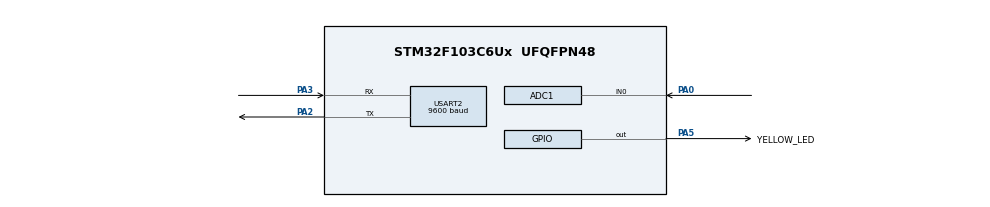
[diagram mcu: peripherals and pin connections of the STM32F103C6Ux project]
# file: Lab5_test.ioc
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ADC1.Channel-1\#ChannelRegularConversion=ADC_CHANNEL_0
ADC1.ContinuousConvMode=ENABLE
ADC1.NbrOfConversionFlag=1
ADC1.Rank-1\#ChannelRegularConversion=1
ADC1.SamplingTime-1\#ChannelRegularConversion=ADC_SAMPLETIME_1CYCLE_5
ADC1.master=1
Mcu.Family=STM32F1
Mcu.Name=STM32F103C6Ux
Mcu.Package=UFQFPN48
NVIC.ADC1_2_IRQn=true\:0\:0\:false\:false\:true\:true\:true\:true
NVIC.PriorityGroup=NVIC_PRIORITYGROUP_4
NVIC.TIM2_IRQn=true\:0\:0\:true\:false\:true\:true\:true\:true
NVIC.USART2_IRQn=true\:0\:0\:false\:false\:true\:true\:true\:true
PA0-WKUP.Signal=ADCx_IN0
PA2.Mode=Asynchronous
PA2.Signal=USART2_TX
PA3.Mode=Asynchronous
PA3.Signal=USART2_RX
PA5.GPIO_Label=YELLOW_LED
PA5.Signal=GPIO_Output
ProjectManager.HeapSize=0x200
ProjectManager.StackSize=0x400
ProjectManager.TargetToolchain=STM32CubeIDE
RCC.APB1Freq_Value=8000000
RCC.APB2Freq_Value=8000000
SH.ADCx_IN0.0=ADC1_IN0,IN0
TIM2.Period=10
TIM2.Prescaler=7999
USART2.BaudRate=9600
USART2.VirtualMode=VM_ASYNC
VP_TIM2_VS_ClockSourceINT.Mode=Internal
board=custom

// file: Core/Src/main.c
/* USER CODE BEGIN Header */
/**
  ******************************************************************************
  * @file           : main.c
  * @brief          : Main program body
  ******************************************************************************
  * @attention
  *
  * Copyright (c) 2022 STMicroelectronics.
  * All rights reserved.
  *
  * This software is licensed under terms that can be found in the LICENSE file
  * in the root directory of this software component.
  * If no LICENSE file comes with this software, it is provided AS-IS.
  *
  ******************************************************************************
  */
/* USER CODE END Header */
#include "main.h"

/* USER CODE BEGIN Includes */
#include <stdio.h>
#include "SoftwareTimer.h"
/* USER CODE END Includes */

ADC_HandleTypeDef hadc1;

TIM_HandleTypeDef htim2;

UART_HandleTypeDef huart2;

void SystemClock_Config(void);
static void MX_GPIO_Init(void);
static void MX_TIM2_Init(void);
static void MX_USART2_UART_Init(void);
static void MX_ADC1_Init(void);

/* USER CODE BEGIN 0 */
uint8_t temp=0;
uint8_t buffer[30];
uint8_t buffer_idx=0;
uint8_t str[50];
int buffer_flag=0;
void HAL_UART_RxCpltCallback(UART_HandleTypeDef*huart){
	buffer_flag=1;
	if(huart->Instance==USART2){
		HAL_UART_Receive_IT(&huart2, &temp, 1);
		buffer[buffer_idx++]=temp;
		if(buffer_idx>=30)
			buffer_idx=0;
//		HAL_UART_Transmit(huart, str, sprintf(str,"%s\r",buffer), 100);
	}
}
uint32_t value=0;
#define INIT -1
#define READ_START 0
#define READ_R 1
#define READ_S 2
#define READ_T 3
#define READ_O 4
#define READ_K 5
#define RST 8
#define OK 9
int state=INIT;
int command_flag=0;
int command_data=0;
int previous_packet=0;
void command_parser_fsm(){
	switch(state){
	case INIT:
		if(temp=='!'){
			state=READ_START;
		}
		break;
	case READ_START:
		if(temp=='R'){
			state=READ_R;
		}else if(temp=='O'){
			state=READ_O;
		}else if(temp=='!'){state=READ_START;}
		else state=INIT;
		break;
	case READ_R:
		if(temp=='S'){
			state=READ_S;
		}else if(temp=='!'){state=READ_START;}
		else state=INIT;
		break;
	case READ_S:
		if(temp=='T'){
			state=READ_T;
		}else if(temp=='!'){state=READ_START;}
		else state=INIT;
		break;
	case READ_O:
		if(temp=='K'){
			state=READ_K;
		}else if(temp=='!'){state=READ_START;}
		else state=INIT;
		break;
	case READ_K:
		if(temp=='#'){
			command_flag=1;
			command_data=OK;
			state=INIT;
		}else if(temp=='!'){
			state=READ_START;
		}else state=INIT;
		break;
	case READ_T:
		if(temp=='#'){
			timer1_flag=1;
			command_flag=1;
			command_data=RST;
			state=INIT;
		}else if(temp=='!'){
			state=READ_START;
		}else state=INIT;
		break;
	}
//	HAL_UART_Transmit(&huart2, str, sprintf(str,"STATE:%d "
//			"TEMP:%c flag:%d data:%d\r",state,temp,command_flag,command_data), 100);
}
int analog_Read=0;
void readAnalog(){
	HAL_ADC_Start(&hadc1);
	HAL_ADC_PollForConversion(&hadc1,1);
	value=HAL_ADC_GetValue(&hadc1);
	HAL_ADC_Stop(&hadc1);
}
void uart_communication_fsm(){
	if(command_flag==1){
		switch(command_data){
		case RST:
			if(timer1_flag==1){
				setTimer1(3000);
				if(analog_Read==0){
					readAnalog();
					analog_Read=1;
					previous_packet=value;
				}
				HAL_UART_Transmit(&huart2, str, sprintf(str,"!ADC=%d#\r\n",previous_packet), 100);
			}
			break;
		case OK:
			command_flag=0;
			analog_Read=0;
			break;
		}
	}
}
/* USER CODE END 0 */

int main(void)
{

  /* MCU Configuration--------------------------------------------------------*/

  /* Reset of all peripherals, Initializes the Flash interface and the Systick. */
  HAL_Init();

  /* Configure the system clock */
  SystemClock_Config();

  /* Initialize all configured peripherals */
  MX_GPIO_Init();
  MX_TIM2_Init();
  MX_USART2_UART_Init();
  MX_ADC1_Init();
  /* USER CODE BEGIN 2 */
  HAL_UART_Receive_IT(&huart2, &temp, 1);
  HAL_TIM_Base_Start_IT(&htim2);
  HAL_ADCEx_Calibration_Start(&hadc1);
  /* USER CODE END 2 */

  /* Infinite loop */
  /* USER CODE BEGIN WHILE */
  while (1)
  {
	  if(buffer_flag==1){
		  command_parser_fsm();
		  buffer_flag=0;
	  }
	  uart_communication_fsm();
    /* USER CODE END WHILE */

  }
}

void SystemClock_Config(void)
{
  RCC_OscInitTypeDef RCC_OscInitStruct = {0};
  RCC_ClkInitTypeDef RCC_ClkInitStruct = {0};
  RCC_PeriphCLKInitTypeDef PeriphClkInit = {0};

  /** Initializes the RCC Oscillators according to the specified parameters
  * in the RCC_OscInitTypeDef structure.
  */
  RCC_OscInitStruct.OscillatorType = RCC_OSCILLATORTYPE_HSI;
  RCC_OscInitStruct.HSIState = RCC_HSI_ON;
  RCC_OscInitStruct.HSICalibrationValue = RCC_HSICALIBRATION_DEFAULT;
  RCC_OscInitStruct.PLL.PLLState = RCC_PLL_NONE;
  if (HAL_RCC_OscConfig(&RCC_OscInitStruct) != HAL_OK)
  {
    Error_Handler();
  }

  /** Initializes the CPU, AHB and APB buses clocks
  */
  RCC_ClkInitStruct.ClockType = RCC_CLOCKTYPE_HCLK|RCC_CLOCKTYPE_SYSCLK
                              |RCC_CLOCKTYPE_PCLK1|RCC_CLOCKTYPE_PCLK2;
  RCC_ClkInitStruct.SYSCLKSource = RCC_SYSCLKSOURCE_HSI;
  RCC_ClkInitStruct.AHBCLKDivider = RCC_SYSCLK_DIV1;
  RCC_ClkInitStruct.APB1CLKDivider = RCC_HCLK_DIV1;
  RCC_ClkInitStruct.APB2CLKDivider = RCC_HCLK_DIV1;

  if (HAL_RCC_ClockConfig(&RCC_ClkInitStruct, FLASH_LATENCY_0) != HAL_OK)
  {
    Error_Handler();
  }
  PeriphClkInit.PeriphClockSelection = RCC_PERIPHCLK_ADC;
  PeriphClkInit.AdcClockSelection = RCC_ADCPCLK2_DIV2;
  if (HAL_RCCEx_PeriphCLKConfig(&PeriphClkInit) != HAL_OK)
  {
    Error_Handler();
  }
}

static void MX_ADC1_Init(void)
{

  ADC_ChannelConfTypeDef sConfig = {0};

  /** Common config
  */
  hadc1.Instance = ADC1;
  hadc1.Init.ScanConvMode = ADC_SCAN_DISABLE;
  hadc1.Init.ContinuousConvMode = ENABLE;
  hadc1.Init.DiscontinuousConvMode = DISABLE;
  hadc1.Init.ExternalTrigConv = ADC_SOFTWARE_START;
  hadc1.Init.DataAlign = ADC_DATAALIGN_RIGHT;
  hadc1.Init.NbrOfConversion = 1;
  if (HAL_ADC_Init(&hadc1) != HAL_OK)
  {
    Error_Handler();
  }

  /** Configure Regular Channel
  */
  sConfig.Channel = ADC_CHANNEL_0;
  sConfig.Rank = ADC_REGULAR_RANK_1;
  sConfig.SamplingTime = ADC_SAMPLETIME_1CYCLE_5;
  if (HAL_ADC_ConfigChannel(&hadc1, &sConfig) != HAL_OK)
  {
    Error_Handler();
  }

}

static void MX_TIM2_Init(void)
{

  TIM_ClockConfigTypeDef sClockSourceConfig = {0};
  TIM_MasterConfigTypeDef sMasterConfig = {0};

  htim2.Instance = TIM2;
  htim2.Init.Prescaler = 7999;
  htim2.Init.CounterMode = TIM_COUNTERMODE_UP;
  htim2.Init.Period = 10;
  htim2.Init.ClockDivision = TIM_CLOCKDIVISION_DIV1;
  htim2.Init.AutoReloadPreload = TIM_AUTORELOAD_PRELOAD_DISABLE;
  if (HAL_TIM_Base_Init(&htim2) != HAL_OK)
  {
    Error_Handler();
  }
  sClockSourceConfig.ClockSource = TIM_CLOCKSOURCE_INTERNAL;
  if (HAL_TIM_ConfigClockSource(&htim2, &sClockSourceConfig) != HAL_OK)
  {
    Error_Handler();
  }
  sMasterConfig.MasterOutputTrigger = TIM_TRGO_RESET;
  sMasterConfig.MasterSlaveMode = TIM_MASTERSLAVEMODE_DISABLE;
  if (HAL_TIMEx_MasterConfigSynchronization(&htim2, &sMasterConfig) != HAL_OK)
  {
    Error_Handler();
  }

}

static void MX_USART2_UART_Init(void)
{

  huart2.Instance = USART2;
  huart2.Init.BaudRate = 9600;
  huart2.Init.WordLength = UART_WORDLENGTH_8B;
  huart2.Init.StopBits = UART_STOPBITS_1;
  huart2.Init.Parity = UART_PARITY_NONE;
  huart2.Init.Mode = UART_MODE_TX_RX;
  huart2.Init.HwFlowCtl = UART_HWCONTROL_NONE;
  huart2.Init.OverSampling = UART_OVERSAMPLING_16;
  if (HAL_UART_Init(&huart2) != HAL_OK)
  {
    Error_Handler();
  }

}

static void MX_GPIO_Init(void)
{
  GPIO_InitTypeDef GPIO_InitStruct = {0};

  /* GPIO Ports Clock Enable */
  __HAL_RCC_GPIOA_CLK_ENABLE();

  /*Configure GPIO pin Output Level */
  HAL_GPIO_WritePin(YELLOW_LED_GPIO_Port, YELLOW_LED_Pin, GPIO_PIN_RESET);

  /*Configure GPIO pin : YELLOW_LED_Pin */
  GPIO_InitStruct.Pin = YELLOW_LED_Pin;
  GPIO_InitStruct.Mode = GPIO_MODE_OUTPUT_PP;
  GPIO_InitStruct.Pull = GPIO_NOPULL;
  GPIO_InitStruct.Speed = GPIO_SPEED_FREQ_LOW;
  HAL_GPIO_Init(YELLOW_LED_GPIO_Port, &GPIO_InitStruct);

}

/* USER CODE BEGIN 4 */
void HAL_TIM_PeriodElapsedCallback(TIM_HandleTypeDef*htim){
	TimerRun();
}
/* USER CODE END 4 */

void Error_Handler(void)
{
  __disable_irq();
  while (1)
  {
  }
}
